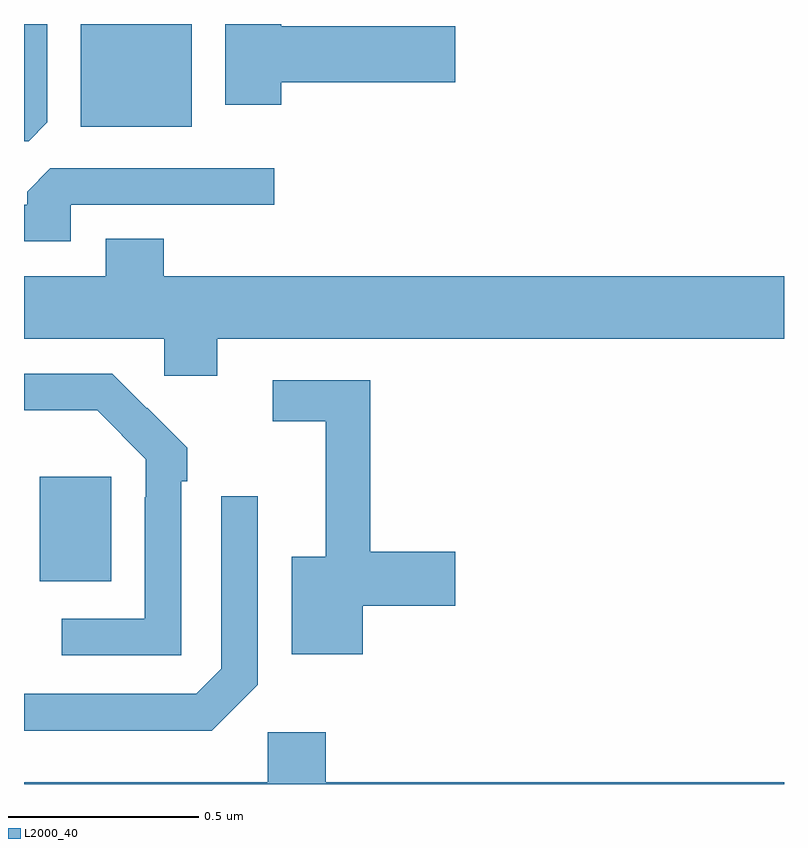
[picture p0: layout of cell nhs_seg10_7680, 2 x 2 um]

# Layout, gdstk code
import gdstk
lib = gdstk.Library(unit=1e-6, precision=1e-09)
def R(c, l, rs):  # rectangles x0, y0, x1, y1
    for r in rs: c.add(gdstk.rectangle(r[:2], r[2:], *l))
def P(c, l, *ps):  # polygons
    for p in ps: c.add(gdstk.Polygon(p, *l))
L2000_40 = (2000, 40)

nhs_seg10_7680 = lib.new_cell('nhs_seg10_7680')
R(nhs_seg10_7680, L2000_40, [(207.041,1277.033,207.229,1277.308), (207.149,1278.23,207.442,1278.5)])
P(nhs_seg10_7680, L2000_40, [(207.061,1278.241),(207.061,1278.5),(207,1278.5),(207,1278.192),(207.012,1278.192)],
  [(207.677,1278.347),(208.135,1278.347),(208.135,1278.494),(207.677,1278.494),(207.677,1278.5),(207.53,1278.5),(207.53,1278.288),(207.677,1278.288)],
  [(207.123,1278.024),(207.658,1278.024),(207.658,1278.12),(207.069,1278.12),(207.008,1278.058),(207.008,1278.024),(207,1278.024),(207,1277.928),(207.123,1277.928)],
  [(207.508,1277.672),(209,1277.672),(209,1277.836),(207.368,1277.836),(207.368,1277.935),(207.215,1277.935),(207.215,1277.836),(207,1277.836),(207,1277.672),(207.369,1277.672),(207.369,1277.574),(207.508,1277.574)],
  [(207.414,1277.297),(207.429,1277.297),(207.429,1277.385),(207.324,1277.49),(207.323,1277.489),(207.232,1277.58),(207,1277.58),(207,1277.484),(207.193,1277.484),(207.321,1277.355),(207.321,1277.255),(207.318,1277.255),(207.318,1276.935),(207.099,1276.935),(207.099,1276.839),(207.414,1276.839)],
  [(207.892,1276.969),(208.135,1276.969),(208.135,1277.111),(207.911,1277.111),(207.911,1277.562),(207.654,1277.562),(207.654,1277.454),(207.794,1277.454),(207.794,1277.098),(207.704,1277.098),(207.704,1276.841),(207.892,1276.841)],
  [(207.615,1276.761),(207.615,1277.257),(207.519,1277.257),(207.519,1276.803),(207.453,1276.737),(207,1276.737),(207,1276.64),(207.494,1276.64)],
  [(209,1276.504),(207.794,1276.504),(207.794,1276.636),(207.642,1276.636),(207.642,1276.504),(207,1276.504),(207,1276.5),(209,1276.5)])

lib.write_gds('nhs_seg10_7680.gds')
